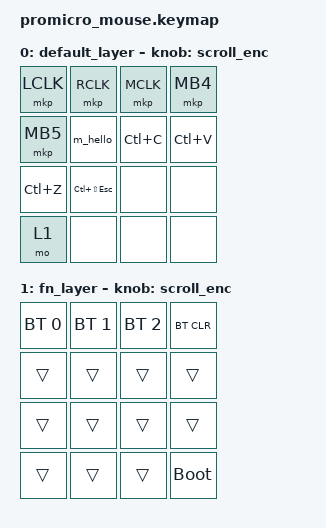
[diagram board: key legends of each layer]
#include <behaviors.dtsi>
#include <dt-bindings/zmk/keys.h>
#include <dt-bindings/zmk/pointing.h>
#include <dt-bindings/zmk/bt.h>

/ {
    behaviors {
        scroll_enc: scroll_enc {
            compatible = "zmk,behavior-sensor-rotate";
            #sensor-binding-cells = <0>;
            bindings = <&msc SCRL_DOWN>, <&msc SCRL_UP>;
            tap-ms = <10>;
        };
    };

    macros {
        m_hello: m_hello {
            compatible = "zmk,behavior-macro";
            #binding-cells = <0>;
            wait-ms = <10>;
            tap-ms = <10>;
            bindings = <&macro_tap &kp H &kp E &kp L &kp L &kp O>;
        };
    };

    keymap {
        compatible = "zmk,keymap";

        default_layer {
            bindings = <
                &mkp LCLK   &mkp RCLK   &mkp MCLK   &mkp MB4
                &mkp MB5    &m_hello    &kp LC(C)   &kp LC(V)
                &kp LC(Z)   &kp LC(LS(ESC)) &none   &none
                &mo 1       &none       &none       &none
            >;
            sensor-bindings = <&scroll_enc>;
        };

        fn_layer {
            bindings = <
                &bt BT_SEL 0 &bt BT_SEL 1 &bt BT_SEL 2 &bt BT_CLR
                &trans       &trans       &trans       &trans
                &trans       &trans       &trans       &trans
                &trans       &trans       &trans       &bootloader
            >;
            sensor-bindings = <&scroll_enc>;
        };
    };
};
